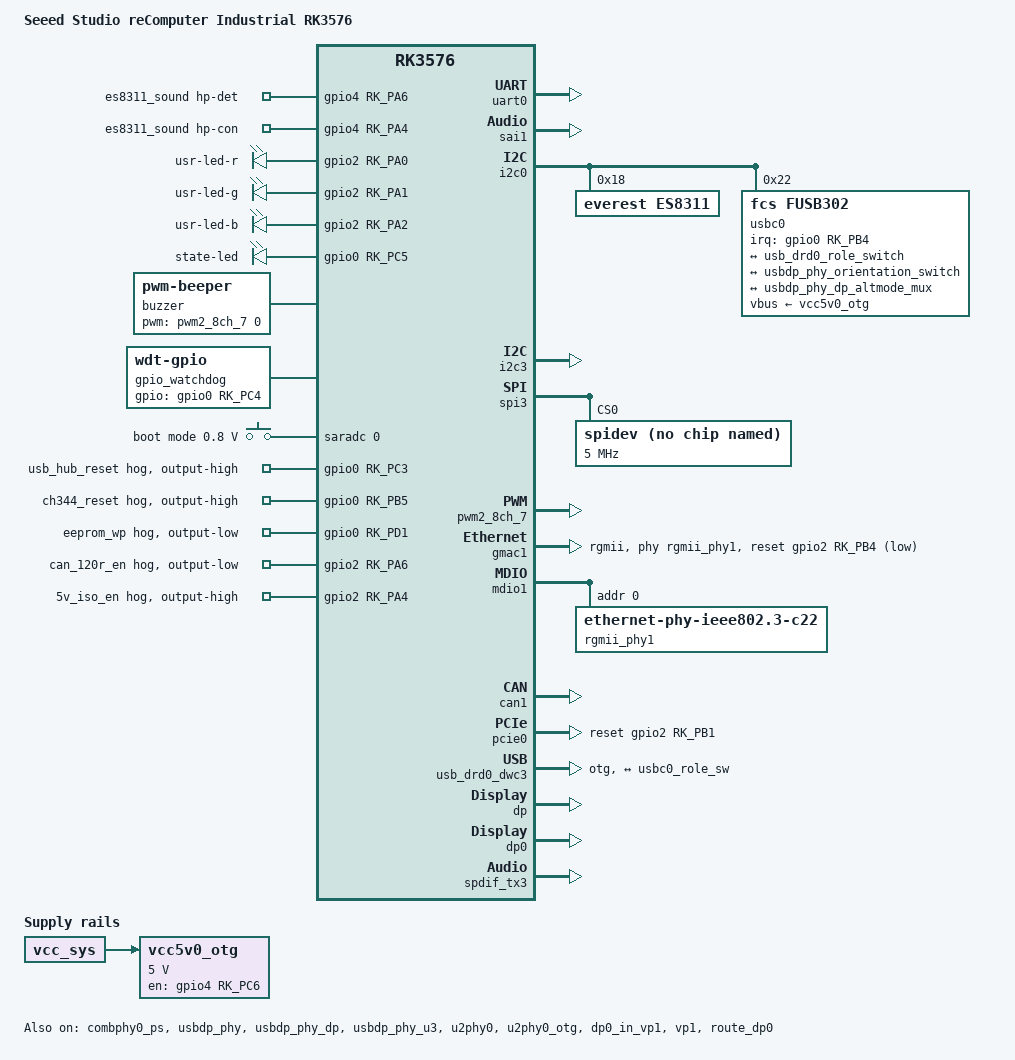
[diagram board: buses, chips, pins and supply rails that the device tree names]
// SPDX-License-Identifier: (GPL-2.0+ OR MIT)
/*
 * Seeed Studio reComputer Industrial RK3576
 *
 * Carrier board on top of the reComputer RK3576 SoM:
 *   - USB3.1 hub USB5744: 2x USB3 Type-A, CH344 UART board (2x RS485 + RS232),
 *     Mini PCIe 4G modem
 *   - GMAC1 PHY Maxio MAE0621A (RJ45 with PoE 802.3af)
 *   - USB3 OTG0 Type-C with 4-lane DP alt-mode, AW35615/FUSB302 CC controller
 *   - CAN1 with isolated transceiver TPT71044 (terminal resistor switch)
 *   - Mini PCIe with LoRa SX1261 (SPI3_M0) and 4G (USB via hub)
 *   - M.2 Key-M NVMe (PCIE0)
 *   - HDMI Type-A, ES8311 codec (I2C0_M1 + SAI1_M0)
 *   - CH343P debug console (UART0_M0), SGM706B watchdog, buzzer,
 *     RGB user LED, isolated DI/DO, boot-mode DIP switch (SARADC0)
 *
 * No fan, no TF card slot on this board.
 *
 * Copyright (c) 2026 Seeed Studio
 */

/dts-v1/;

#include <dt-bindings/usb/pd.h>
#include <dt-bindings/gpio/gpio.h>
#include <dt-bindings/pwm/pwm.h>
#include <dt-bindings/pinctrl/rockchip.h>
#include <dt-bindings/input/rk-input.h>
#include <dt-bindings/display/drm_mipi_dsi.h>
#include <dt-bindings/display/rockchip_vop.h>
#include <dt-bindings/sensor-dev.h>
#include "rk3576-recomputer-som.dtsi"
#include "rk3576-recomputer-som-emmc.dtsi"

/ {
	model = "Seeed Studio reComputer Industrial RK3576";
	compatible = "seeed,recomputer-industrial-rk3576", "rockchip,rk3576";

	/delete-node/ chosen;

	chosen: chosen {
		stdout-path = "serial0:1500000n8";
	};

	/* Type-C0 VBUS 5V, TYPEC5V_PWREN_H = GPIO4_C6 */
	vcc5v0_otg: vcc5v0-otg {
		compatible = "regulator-fixed";
		regulator-name = "vcc5v0_otg";
		regulator-min-microvolt = <5000000>;
		regulator-max-microvolt = <5000000>;
		enable-active-high;
		gpio = <&gpio4 RK_PC6 GPIO_ACTIVE_HIGH>;
		vin-supply = <&vcc_sys>;
		pinctrl-names = "default";
		pinctrl-0 = <&typec5v_pwren>;
	};

	es8311_sound: es8311-sound {
		status = "okay";
		compatible = "rockchip,multicodecs-card";
		rockchip,card-name = "rockchip-es8311";
		keyup-threshold-microvolt = <1800000>;
		/* HP_DET_L = GPIO4_A6 */
		hp-det-gpio = <&gpio4 RK_PA6 GPIO_ACTIVE_HIGH>;
		/* HP_CTL_H = GPIO4_A4 */
		hp-con-gpio = <&gpio4 RK_PA4 GPIO_ACTIVE_HIGH>;
		rockchip,pre-power-on-delay-ms = <30>;
		rockchip,post-power-down-delay-ms = <40>;
		rockchip,format = "i2s";
		rockchip,mclk-fs = <256>;
		rockchip,cpu = <&sai1>;
		rockchip,codec = <&es8311>;
		rockchip,audio-routing =
			"Headphone", "DIFFERENTIAL OUT",
			/* No on-board mic: the headset jack MIC contact is the only
			 * capture source. Route both jack widgets to AMIC (same as
			 * the devkit dts) so a 4-pole headset mic can record.
			 */
			"AMIC", "Main Mic",
			"AMIC", "Headset Mic";
		pinctrl-names = "default";
		pinctrl-0 = <&hp_det &hp_con>;
	};

	dp0_sound: dp0-sound {
		compatible = "rockchip,hdmi";
		rockchip,mclk-fs = <512>;
		rockchip,card-name = "rockchip-dp0";
		rockchip,cpu = <&spdif_tx3>;
		rockchip,codec = <&dp0 1>;
		rockchip,jack-det;
	};

	/* USR_LED_R/G/B = GPIO2_A0/A1/A2, STATE_LED = GPIO0_C5 (J12 header) */
	gpio-leds {
		compatible = "gpio-leds";

		usr-led-r {
			gpios = <&gpio2 RK_PA0 GPIO_ACTIVE_HIGH>;
			linux,default-trigger = "none";
		};

		usr-led-g {
			gpios = <&gpio2 RK_PA1 GPIO_ACTIVE_HIGH>;
			linux,default-trigger = "none";
		};

		usr-led-b {
			gpios = <&gpio2 RK_PA2 GPIO_ACTIVE_HIGH>;
			linux,default-trigger = "none";
		};

		state-led {
			gpios = <&gpio0 RK_PC5 GPIO_ACTIVE_HIGH>;
			linux,default-trigger = "heartbeat";
		};
	};

	/*
	 * Buzzer (passive, driven by 2N7002). PWM square wave on
	 * pwm2_ch7_m2 (GPIO2_D7); input EV_SND, drive with
	 * `beep -e /dev/input/eventX -f 2730 -l 200`.
	 */
	buzzer: pwm-beeper {
		status = "okay";
		compatible = "pwm-beeper";
		pwms = <&pwm2_8ch_7 0 5000 0>;
	};

	/*
	 * External watchdog SGM706B. RST_WDI = GPIO0_C4 must be
	 * toggled within 1.6s or the board resets (RESET_L_1V8).
	 */
	gpio_watchdog: gpio-watchdog {
		compatible = "linux,wdt-gpio";
		gpios = <&gpio0 RK_PC4 GPIO_ACTIVE_HIGH>;
		/* required by gpio-wdt or probe fails with -EINVAL */
		hw_algo = "toggle";
		hw_margin_ms = <1300>;
		always-running;
		status = "okay";
	};

	/*
	 * Boot-mode DIP switch (nRPIBOOT): SARADC channel 0 divider,
	 * selects maskrom/recovery boot (handled by the boot ROM).
	 * Exposed as a key for userspace notification.
	 */
	boot-keys {
		compatible = "adc-keys";
		io-channels = <&saradc 0>;
		io-channel-names = "buttons";
		keyup-threshold-microvolt = <1800000>;
		status = "okay";

		boot-mode-switch {
			linux,code = <KEY_SETUP>;
			label = "boot mode";
			/* 5V through 100R + 100R divider, clamped to 1V8 domain.
			 * Measured 2026-08-21: normal position ~1614mV, maskrom
			 * position ~15mV; threshold set at the midpoint.
			 */
			press-threshold-microvolt = <800000>;
		};
	};
};

/* Debug console: CH343P USB-UART on Type-C1 */
&uart0 {
	status = "okay";
	pinctrl-names = "default";
	pinctrl-0 = <&uart0m0_xfer>;
};

/*
 * rk3576-linux.dtsi enables a fiq-debugger on UART0 (serial-id 0), which
 * requires the uart0 node to stay disabled ("uart0 is enabled, please
 * disable it" -> probe -EEXIST/-EINVAL). This board uses the plain 16550
 * ttyS0 console instead (SERIALCON=ttyS0; the shared bootscript's
 * console=ttyFIQ0 is overridden via extraargs), so turn the debugger off.
 */
&fiq_debugger {
	status = "disabled";
};

/* ES8311 I2S, SAI1_M0 */
&sai1 {
	status = "okay";
	rockchip,sai-rx-route = <0 1 2 3>;
	rockchip,sai-tx-route = <0 1 2 3>;
	pinctrl-names = "default";
	pinctrl-0 = <&sai1m0_lrck
		     &sai1m0_sclk
		     &sai1m0_sdi0
		     &sai1m0_sdo0>;
};

/*
 * I2C0_M1 (GPIO0_C1/C2): carrier codec + Type-C CC controller.
 */
&i2c0 {
	status = "okay";
	pinctrl-names = "default";
	pinctrl-0 = <&i2c0m1_xfer>;

	es8311: es8311@18 {
		status = "okay";
		compatible = "everest,es8311";
		reg = <0x18>;
		#sound-dai-cells = <0>;
		adc-pga-gain = <6>;     /* 18dB */
		adc-volume = <0xbf>;    /* 0dB */
		dac-volume = <0xbf>;    /* 0dB */
		aec-mode = "adc left, adc right";
		clocks = <&mclkout_sai1>;
		clock-names = "mclk";
		assigned-clocks = <&mclkout_sai1>;
		assigned-clock-rates = <12288000>;
		pinctrl-names = "default";
		pinctrl-0 = <&sai1m0_mclk>;
	};

	/* TypeC0 CC controller: AW35615 (default) / HUSB311 (option), FUSB302 compatible */
	usbc0: fusb302@22 {
		compatible = "fcs,fusb302";
		reg = <0x22>;
		interrupt-parent = <&gpio0>;
		interrupts = <RK_PB4 IRQ_TYPE_LEVEL_LOW>;
		pinctrl-names = "default";
		pinctrl-0 = <&typec_int>;
		vbus-supply = <&vcc5v0_otg>;
		status = "okay";

		ports {
			#address-cells = <1>;
			#size-cells = <0>;

			port@0 {
				reg = <0>;
				usbc0_role_sw: endpoint@0 {
					remote-endpoint = <&usb_drd0_role_switch>;
				};
			};
		};

		usb_con: connector {
			compatible = "usb-c-connector";
			label = "USB-C";
			data-role = "dual";
			power-role = "dual";
			try-power-role = "sink";
			op-sink-microwatt = <1000000>;
			sink-pdos =
				<PDO_FIXED(5000, 1000, PDO_FIXED_USB_COMM)>;
			source-pdos =
				<PDO_FIXED(5000, 3000, PDO_FIXED_USB_COMM)>;

			altmodes {
				#address-cells = <1>;
				#size-cells = <0>;

				altmode@0 {
					reg = <0>;
					svid = <0xff01>;
					vdo = <0xffffffff>;
				};
			};

			ports {
				#address-cells = <1>;
				#size-cells = <0>;

				port@0 {
					reg = <0>;
					usbc0_orien_sw: endpoint {
						remote-endpoint = <&usbdp_phy_orientation_switch>;
					};
				};

				port@1 {
					reg = <1>;
					dp_altmode_mux: endpoint {
						remote-endpoint = <&usbdp_phy_dp_altmode_mux>;
					};
				};
			};
		};
	};
};

/* I2C3_M1 (GPIO0_C6/C7): Mini PCIe SIM switch (SGM7222) + module ID */
&i2c3 {
	status = "okay";
	pinctrl-names = "default";
	pinctrl-0 = <&i2c3m1_xfer>;
};

/*
 * SPI3_M0 (GPIO3_A0-A3): LoRa SX1261 on Mini PCIe.
 * No in-tree SX126x SPI driver; expose as spidev for now.
 */
&spi3 {
	status = "okay";
	pinctrl-names = "default";
	pinctrl-0 = <&spi3m0_pins &spi3m0_csn0>;

	spidev@0 {
		compatible = "spidev";
		reg = <0>;
		spi-max-frequency = <5000000>;
		status = "okay";
	};

	/* sx1261: lora@0 { compatible = "semtech,sx1261"; ... }; */
};

/* Buzzer PWM: pwm2_ch7_m2 on GPIO2_D7 (see pwm-beeper above) */
&pwm2_8ch_7 {
	status = "okay";
	pinctrl-names = "active";
	pinctrl-0 = <&pwm2m2_ch7>;
};

/*
 * GMAC1: Maxio MAE0621A on carrier, RGMII M0.
 * PHY address 0x0, reset GPIO2_B4.
 * No Maxio PHY driver in the vendor kernel and the strap leaves the
 * PHY's internal RGMII delays off, so phy-mode is "rgmii" and both
 * delays come from the MAC side. Calibrated on the board: tx 0x1a /
 * rx 0x1a gives clean RX (0 crc errors) and 0% ping loss; rx 0x3f and
 * PHY-side delay modes (rgmii-rxid / rgmii-id) fail RX with CRC errors.
 */
&gmac1 {
	phy-mode = "rgmii";
	clock_in_out = "output";

	snps,reset-gpio = <&gpio2 RK_PB4 GPIO_ACTIVE_LOW>;
	snps,reset-active-low;
	snps,reset-delays-us = <0 20000 100000>;

	pinctrl-names = "default";
	pinctrl-0 = <&eth1m0_miim
		     &eth1m0_tx_bus2
		     &eth1m0_rx_bus2
		     &eth1m0_rgmii_clk
		     &eth1m0_rgmii_bus>;

	tx_delay = <0x1a>;
	rx_delay = <0x1a>;

	phy-handle = <&rgmii_phy1>;
	status = "okay";
};

&mdio1 {
	rgmii_phy1: phy@0 {
		compatible = "ethernet-phy-ieee802.3-c22";
		reg = <0x0>;
		/*
		 * No dedicated binding: bound by the generic C22 driver.
		 * RJ45 LEDs fall back to the PHY strap default (amber
		 * steady on) until a dedicated MAE0621A driver lands.
		 */
	};
};

/* CAN1: TPT71044 isolated transceiver, GPIO4_B4/B5 (M2) */
&can1 {
	status = "okay";
	pinctrl-names = "default";
	pinctrl-0 = <&can1m2_pins>;
};

/* PCIe0: M.2 Key-M NVMe, PERST GPIO2_B1 */
&pcie0 {
	reset-gpios = <&gpio2 RK_PB1 GPIO_ACTIVE_HIGH>;
	rockchip,skip-scan-in-resume;
	status = "okay";
};

&combphy0_ps {
	status = "okay";
};

/* USB3 OTG0 with 4-lane DP alt-mode on Type-C0 */
&usbdp_phy {
	orientation-switch;
	svid = <0xff01>;
	rockchip,dp-lane-mux = <0 1 2 3>;
	sbu1-dc-gpios = <&gpio4 RK_PC4 GPIO_ACTIVE_HIGH>;
	sbu2-dc-gpios = <&gpio4 RK_PC5 GPIO_ACTIVE_HIGH>;
	status = "okay";

	port {
		#address-cells = <1>;
		#size-cells = <0>;

		usbdp_phy_orientation_switch: endpoint@0 {
			reg = <0>;
			remote-endpoint = <&usbc0_orien_sw>;
		};


		usbdp_phy_dp_altmode_mux: endpoint@1 {
			reg = <1>;
			remote-endpoint = <&dp_altmode_mux>;
		};
	};
};

&usbdp_phy_dp {
	status = "okay";
};

&usbdp_phy_u3 {
	status = "okay";
};

&u2phy0 {
	status = "okay";
};

&u2phy0_otg {
	rockchip,typec-vbus-det;
	status = "okay";
};

&usb_drd0_dwc3 {
	dr_mode = "otg";
	usb-role-switch;
	status = "okay";
	snps,parkmode-disable-hs-quirk;
	snps,parkmode-disable-ss-quirk;
	snps,dis_u3_susphy_quirk;
	snps,dis_u2_susphy_quirk;
	port {
		usb_drd0_role_switch: endpoint {
			remote-endpoint = <&usbc0_role_sw>;
		};
	};
};

/* DP alt-mode output */
&dp {
	status = "okay";
};

&dp0 {
	status = "okay";
};

&dp0_in_vp0 {
	status = "disabled";
};

&dp0_in_vp1 {
	status = "okay";
};

&dp0_in_vp2 {
	status = "disabled";
};

&vp1 {
	status = "okay";
};

&route_dp0 {
	status = "okay";
	connect = <&vp1_out_dp0>;
};

&dp0_sound {
	status = "okay";
};

&spdif_tx3 {
	status = "okay";
};

&gpio0 {
	/* USB5744 hub reset, UPR (GPIO0_C3) */
	usb_hub_reset_hog: usb-hub-reset-hog {
		gpio-hog;
		gpios = <RK_PC3 GPIO_ACTIVE_HIGH>;
		output-high;
		line-name = "usb_hub_reset";
	};

	/* CH344 (USB to 4x UART, RS485x2/RS232) reset, GPIO0_B5 */
	ch344_reset_hog: ch344-reset-hog {
		gpio-hog;
		gpios = <RK_PB5 GPIO_ACTIVE_HIGH>;
		output-high;
		line-name = "ch344_reset";
	};

	/* EEPROM FT24C32 nWP (GPIO0_D1): low = writable, high = write-protect.
	 * The at24 driver in this kernel does not toggle a wp-gpios line, so
	 * hog GPIO0_D1 low to allow page writes (read/write/restore test).
	 */
	eeprom_wp_hog: eeprom-wp-hog {
		gpio-hog;
		gpios = <RK_PD1 GPIO_ACTIVE_HIGH>;
		output-low;
		line-name = "eeprom_wp";
	};
};

&gpio2 {
	/*
	 * CAN 120-ohm termination switch (GPIO2_A6):
	 * low = terminator disconnected (default)
	 */
	can_120r_hog: can-120r-hog {
		gpio-hog;
		gpios = <RK_PA6 GPIO_ACTIVE_HIGH>;
		output-low;
		line-name = "can_120r_en";
	};

	/* Isolated 5V DCDC (IB0505S) enable, GPIO2_A4 */
	iso_5v_hog: iso-5v-hog {
		gpio-hog;
		gpios = <RK_PA4 GPIO_ACTIVE_HIGH>;
		output-high;
		line-name = "5v_iso_en";
	};
};

&pinctrl {

	headphone {
		hp_det: hp-det {
			rockchip,pins = <4 RK_PA6 RK_FUNC_GPIO &pcfg_pull_up>;
		};
		hp_con: hp-con {
			rockchip,pins = <4 RK_PA4 RK_FUNC_GPIO &pcfg_pull_up>;
		};
	};

	usb {
		/* AW35615 INT */
		typec_int: typec-int {
			rockchip,pins = <0 RK_PB4 RK_FUNC_GPIO &pcfg_pull_up>;
		};
		typec5v_pwren: typec5v-pwren {
			rockchip,pins = <4 RK_PC6 RK_FUNC_GPIO &pcfg_pull_none>;
		};
	};
};

&gpio2 {
	gpio-line-names =
		/* GPIO2_A0-A7 */
		"USR_LED_R", "USR_LED_G", "USR_LED_B", "ISO_DOUT1",
		"5V_ISO_EN", "ISO_DIN1", "CAN_120R_EN", "I2C_SWITCH_CTL",
		/* GPIO2_B0-B7 */
		"HDMI_TX_ON_H", "PCIE0_PERSTn", "", "GMAC0_RSTn",
		"GMAC1_RSTn", "PCIE_1PPS", "SX1261_RST", "M2B_PCIE_Reset",
		/* GPIO2_C0-C7 */
		"GMAC1_RXD2", "GMAC1_RXD3", "GMAC1_RXCLK", "GMAC1_TXD2",
		"GMAC1_TXD3", "GMAC1_TXCLK", "GMAC1_TXD0", "GMAC1_TXD1",
		/* GPIO2_D0-D7 */
		"GMAC1_TXCTL", "GMAC1_RXD0", "GMAC1_RXD1", "GMAC1_RXCTL",
		"GMAC1_MDC", "GMAC1_MDIO", "SX1261_BUSY", "BUZZER_EN";
};
